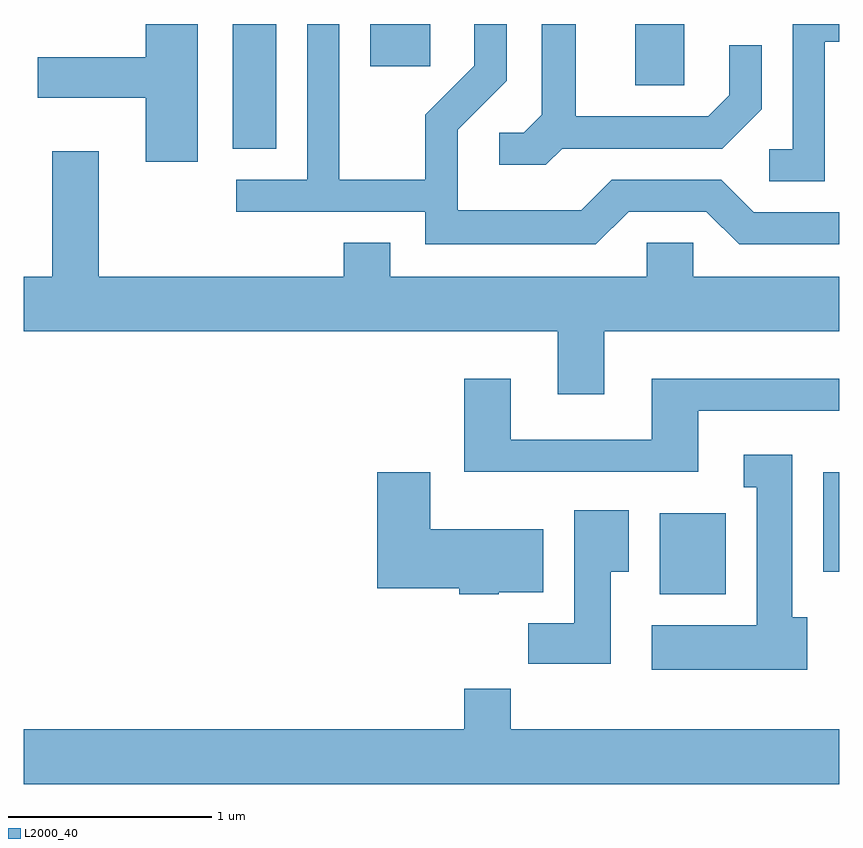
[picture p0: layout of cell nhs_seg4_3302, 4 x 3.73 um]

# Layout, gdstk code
import gdstk
lib = gdstk.Library(unit=1e-6, precision=1e-09)
def R(c, l, rs):  # rectangles x0, y0, x1, y1
    for r in rs: c.add(gdstk.rectangle(r[:2], r[2:], *l))
def P(c, l, *ps):  # polygons
    for p in ps: c.add(gdstk.Polygon(p, *l))
L2000_40 = (2000, 40)

nhs_seg4_3302 = lib.new_cell('nhs_seg4_3302')
R(nhs_seg4_3302, L2000_40, [(284.731,1331.186,285.054,1331.584), (285.531,1331.296,285.611,1331.784), (282.636,1333.371,282.849,1333.982), (284.611,1333.681,284.849,1333.982), (283.311,1333.776,283.604,1333.982)])
P(nhs_seg4_3302, L2000_40, [(284.252,1333.371),(285.037,1333.371),(285.229,1333.564),(285.229,1333.878),(285.071,1333.878),(285.071,1333.632),(284.969,1333.529),(284.319,1333.529),(284.319,1333.982),(284.151,1333.982),(284.151,1333.537),(284.064,1333.449),(283.943,1333.449),(283.943,1333.291),(284.172,1333.291)],
  [(285.539,1333.896),(285.611,1333.896),(285.611,1333.982),(285.381,1333.982),(285.381,1333.369),(285.268,1333.369),(285.268,1333.211),(285.539,1333.211)],
  [(284.577,1333.061),(284.959,1333.061),(285.119,1332.901),(285.611,1332.901),(285.611,1333.059),(285.192,1333.059),(285.032,1333.219),(284.494,1333.219),(284.344,1333.069),(283.739,1333.069),(283.739,1333.464),(283.979,1333.704),(283.979,1333.982),(283.821,1333.982),(283.821,1333.777),(283.581,1333.537),(283.581,1333.219),(283.159,1333.219),(283.159,1333.982),(283.001,1333.982),(283.001,1333.219),(282.653,1333.219),(282.653,1333.061),(283.581,1333.061),(283.581,1332.901),(284.417,1332.901)],
  [(282.464,1333.982),(282.211,1333.982),(282.211,1333.819),(281.681,1333.819),(281.681,1333.621),(282.211,1333.621),(282.211,1333.306),(282.464,1333.306)],
  [(284.459,1332.476),(285.611,1332.476),(285.611,1332.744),(284.894,1332.744),(284.894,1332.909),(284.666,1332.909),(284.666,1332.744),(283.409,1332.744),(283.409,1332.909),(283.181,1332.909),(283.181,1332.744),(281.979,1332.744),(281.979,1333.359),(281.751,1333.359),(281.751,1332.744),(281.611,1332.744),(281.611,1332.476),(284.231,1332.476),(284.231,1332.166),(284.459,1332.166)],
  [(284.919,1332.086),(285.611,1332.086),(285.611,1332.244),(284.691,1332.244),(284.691,1331.944),(283.999,1331.944),(283.999,1332.244),(283.771,1332.244),(283.771,1331.786),(284.919,1331.786)],
  [(285.454,1331.074),(285.379,1331.074),(285.379,1331.869),(285.143,1331.869),(285.143,1331.711),(285.206,1331.711),(285.206,1331.034),(284.691,1331.034),(284.691,1330.816),(285.454,1330.816)],
  [(283.94,1331.196),(284.159,1331.196),(284.159,1331.504),(283.604,1331.504),(283.604,1331.784),(283.346,1331.784),(283.346,1331.216),(283.746,1331.216),(283.746,1331.186),(283.94,1331.186)],
  [(284.489,1331.296),(284.579,1331.296),(284.579,1331.599),(284.311,1331.599),(284.311,1331.044),(284.086,1331.044),(284.086,1330.846),(284.489,1330.846)],
  [(285.611,1330.524),(283.999,1330.524),(283.999,1330.724),(283.771,1330.724),(283.771,1330.524),(281.611,1330.524),(281.611,1330.256),(285.611,1330.256)])

lib.write_gds('nhs_seg4_3302.gds')
